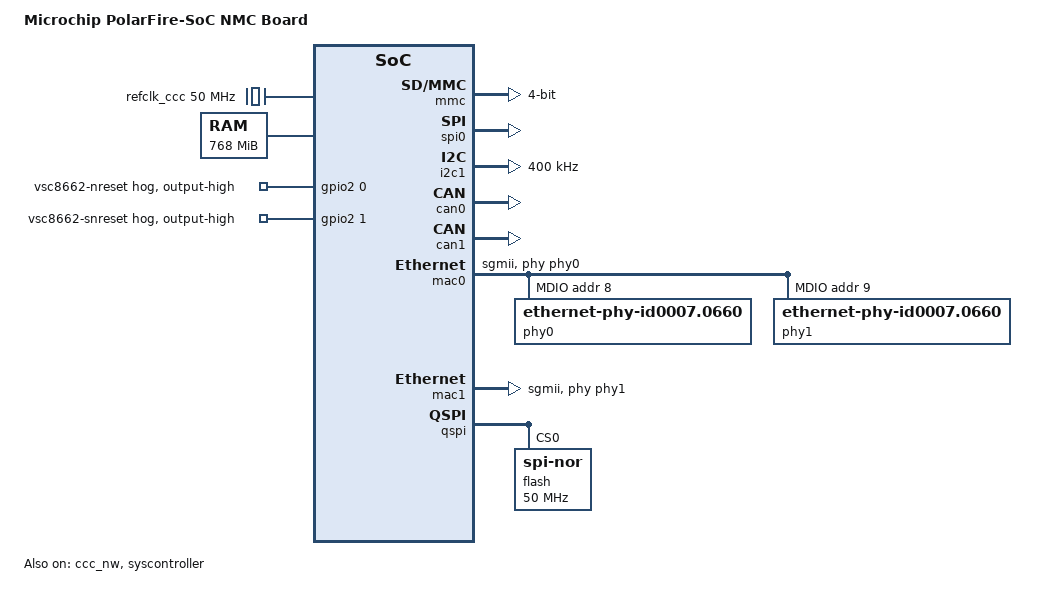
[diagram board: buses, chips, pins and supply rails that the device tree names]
// SPDX-License-Identifier: (GPL-2.0 OR MIT)
/* Written by Ryan Nguyen / Andrew Carton 2026 */

/dts-v1/;

#include "mpfs.dtsi"
#include <dt-bindings/gpio/gpio.h>

/ {
	model = "Microchip PolarFire-SoC NMC Board";
	compatible = "microchip,mpfs-custom-mss", "microchip,mpfs";

	aliases {
		ethernet0 = &mac0;
		ethernet1 = &mac1;
		serial0 = &mmuart0;
		serial1 = &mmuart1;
		i2c1 = &i2c1;
		can0 = &can0;
		can1 = &can1;
		mmc0 = &mmc;
		spi0 = &spi0;
	};

	chosen {
		bootph-pre-ram;
		stdout-path = "serial1:115200n8";
		/* Automatically load the ITB image to 0x84000000 and boot */
		u-boot,bootcmd = "fatload mmc 0:2 0x84000000 mpfs_icicle.itb; bootm 0x84000000";
	};

	/* Fixed Reference Clock for CCC */
	refclk_ccc: cccrefclk {
		compatible = "fixed-clock";
		#clock-cells = <0>;
		clock-frequency = <50000000>;
	};

	/* Match the 768 MB range configured in Libero */
	ddrc_cache_lo: memory@80000000 {
		device_type = "memory";
		reg = <0x0 0x80000000 0x0 0x30000000>;
		status = "okay";
	};

	/* Disable 16GB High Cached region */
	ddrc_cache_hi: memory@1000000000 {
		status = "disabled";
	};

	reserved-memory {
		#address-cells = <2>;
		#size-cells = <2>;
		ranges;

		/* Put HSS payload near the top of the 768MB region (0xAF800000) */
		hss_payload: region@af800000 {
			reg = <0x0 0xaf800000 0x0 0x800000>;
			no-map;
		};
	};
};

/* Explicit Reference Clocks */
&refclk {
	clock-frequency = <125000000>;
};

&ccc_nw {
	clocks = <&refclk_ccc>, <&refclk_ccc>, <&refclk_ccc>, <&refclk_ccc>,
		 <&refclk_ccc>, <&refclk_ccc>;
	clock-names = "pll0_ref0", "pll0_ref1", "pll1_ref0", "pll1_ref1",
		      "dll0_ref", "dll1_ref";
	status = "okay";
};

/* System Controller & Mailbox Hardware Interface */
&mbox {
	status = "okay";
};

&syscontroller {
	status = "okay";
};

/* Serial Controllers */
&mmuart0 { 
	status = "disabled"; 
};

&mmuart1 {
	bootph-pre-ram;
	u-boot,dm-pre-reloc;
	status = "okay";
};

&mmuart2 { status = "okay"; };
&mmuart4 { status = "okay"; };

/* eMMC (U2): VCC and VCCQ are both +3V3, so I/O is 3.3 V only (same as Linux DT).
 * Fastest in-spec mode at 3.3 V is High-Speed DDR (52 MHz); HS200 needs 1.8 V I/O. */
&mmc {
	bus-width = <4>;
	disable-wp;
	no-1-8-v;
	cap-mmc-highspeed;
	mmc-ddr-3_3v;
	status = "okay";
};

/* GPIO Controllers */
&gpio0 { status = "okay"; };
&gpio1 { status = "okay"; };

/* GPIO2 - Drive both PHY Reset lines HIGH */
&gpio2 {
	status = "okay";
	u-boot,dm-pre-reloc;

	vsc8662_nreset {
		u-boot,dm-pre-reloc;
		gpio-hog;
		gpios = <0 GPIO_ACTIVE_HIGH>;
		output-high;
		line-name = "vsc8662-nreset";
	};

	vsc8662_snreset {
		u-boot,dm-pre-reloc;
		gpio-hog;
		gpios = <1 GPIO_ACTIVE_HIGH>;
		output-high;
		line-name = "vsc8662-snreset";
	};
};

/* Active SPI 0 Interface */
&spi0 {
	status = "okay";
};

/* Disable Peripherals Not Present on Board */
&i2c0 { status = "disabled"; };
&spi1 { status = "disabled"; };
&mmuart3 { status = "disabled"; };
&usb { status = "disabled"; };

/* I2C1: J12 pins 24/25 and J4 A17/A27, for daughterboard devices */
&i2c1 {
	status = "okay";
	clock-frequency = <400000>;
};

/* CAN_0: routed through the FPGA fabric */
&can0 {
	status = "okay";
};

/* CAN_1: MSS I/O */
&can1 {
	status = "okay";
};

/* MAC 0 (eth0) - Shared MDIO Bus Master */
&mac0 {
    status = "okay";
    phy-mode = "sgmii";
    phy-handle = <&phy0>;

    mdio {
        #address-cells = <1>;
        #size-cells = <0>;

        phy0: ethernet-phy@8 {
            reg = <8>;
            compatible = "ethernet-phy-id0007.0660", "ethernet-phy-ieee802.3-c22";
        };

        phy1: ethernet-phy@9 {
            reg = <9>;
            compatible = "ethernet-phy-id0007.0660", "ethernet-phy-ieee802.3-c22";
        };
    };
};

/* MAC 1 (eth1) - References phy1 on mac0's MDIO bus */
&mac1 {
    status = "okay";
    phy-mode = "sgmii"; /* Ensure mode matches mac0 / schematic */
    phy-handle = <&phy1>;
};

/* QSPI flash IC1 (Infineon S25HL01GT, 1 Gbit). At 102 MHz the JEDEC ID read
 * back shifted by one bit (sampled a clock late), so run it at 50 MHz (same as Linux DT). */
&qspi {
	status = "okay";
	flash@0 {
		compatible = "jedec,spi-nor";
		reg = <0>;
		spi-max-frequency = <50000000>;
		spi-tx-bus-width = <4>;
		spi-rx-bus-width = <4>;
		status = "okay";
	};
};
